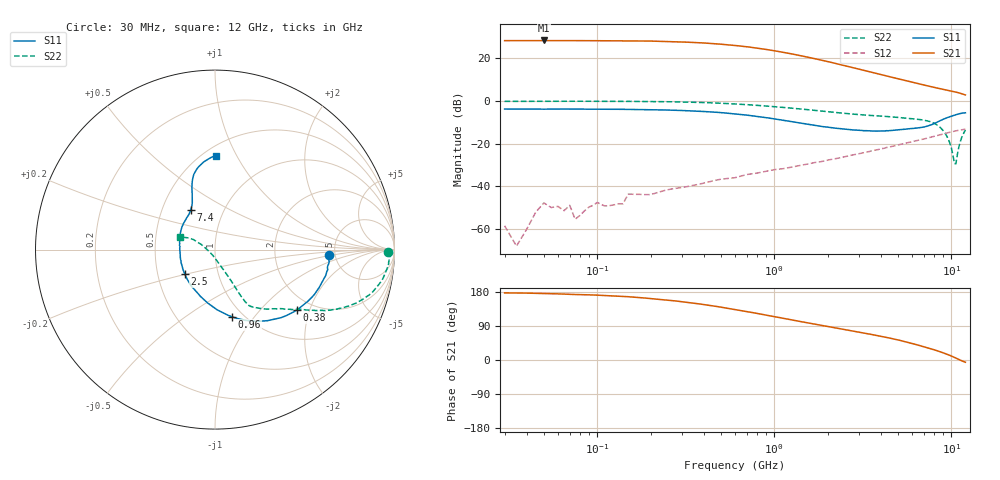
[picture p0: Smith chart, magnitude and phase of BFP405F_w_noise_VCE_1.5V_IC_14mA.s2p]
! Infineon Technologies  Discrete & RF Semiconductors
! BFP405F
! VCE =  1.5 V,  IC =  14 mA
! Common Emitter S-Parameters:  Nov 2015
# GHz  S  MA  R  50
!  f  S11  S21  S12  S22
! GHz  MAG  ANG  MAG  ANG  MAG  ANG  MAG  ANG
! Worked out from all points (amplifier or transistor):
!   239 points, 30 MHz to 12 GHz, reference 50 ohm
!   highest |S21| = 28.2 dB at 50 MHz (marker M1)
!   |S21| within 3 dB of that: start of sweep to 708.7 MHz
!   unconditionally stable (mu >= 1): 34.49 MHz to 35.84 MHz; 1.795 GHz to end of sweep
!   at 300 MHz: K = 0.23, MSG = 34.0 dB, |S12| = -40.5 dB
!   at 1.88 GHz: K = 1.02, MAG = 22.7 dB, |S12| = -28.3 dB
!   at 12 GHz: K = 1.39, MAG = 4.3 dB, |S12| = -13.3 dB
!   lowest NFmin = 1.91 dB at 450 MHz
!   S11 on the Smith chart (normalised r, x): 30 MHz: 4.48, -0.49; 380 MHz: 1.66, -1.64; 960 MHz: 0.89, -0.78; 2.5 GHz: 0.69, -0.19; 7.4 GHz: 0.70, +0.33; 12 GHz: 0.58, +0.83
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0.03  0.6384 -2.9  25.32 177.1  0.0012 -119.0  0.9665 -0.8
0.035  0.6388 -3.6  25.36 176.8  0.0004 -175.2  0.9683 -1.0
0.05  0.6353 -5.0  25.58 175.2  0.0041 122.7  0.9721 -1.6
0.075  0.6369 -7.5  25.3 172.8  0.0017 102.1  0.974 -2.5
0.085  0.6345 -8.4  25.28 172.2  0.0027 36.1  0.9724 -3.1
0.145  0.6284 -14.8  25.09 167.5  0.0052 84.7  0.9676 -5.8
0.2  0.6177 -20.0  24.76 162.1  0.0064 74.0  0.9567 -8.2
0.24  0.6083 -23.9  24.25 158.9  0.008 84.1  0.9498 -9.7
0.3  0.5913 -29.3  23.62 153.9  0.0094 82.4  0.9343 -11.9
0.38  0.566 -36.4  22.58 147.8  0.0113 74.5  0.912 -14.7
0.5  0.5278 -46.0  20.92 139.4  0.0147 75.0  0.8727 -18.3
0.6  0.4925 -53.5  19.53 133.2  0.0159 72.4  0.8403 -20.8
0.7  0.4612 -60.1  18.23 127.8  0.0189 70.4  0.8099 -22.8
0.96  0.3869 -75.6  15.12 116.0  0.0237 68.4  0.737 -27.0
1.3  0.3146 -93.0  12.06 104.2  0.0289 66.6  0.661 -30.9
1.64  0.27 -108.3  9.878 95.8  0.0349 66.2  0.6035 -33.8
2.5  0.2163 -141.5  6.594 80.3  0.0491 65.2  0.5071 -40.7
4.5  0.201 169.2  3.622 57.7  0.0835 59.3  0.4225 -51.3
7.4  0.2589 121.6  2.205 31.6  0.1351 47.2  0.3345 -60.0
9.2  0.3829 109.5  1.808 17.2  0.1709 37.9  0.1754 -63.5
10.6  0.4703 101.2  1.593 5.3  0.198 29.2  0.0334 -159.9
12  0.5224 89.4  1.364 -5.9  0.2161 21.4  0.2065 159.9
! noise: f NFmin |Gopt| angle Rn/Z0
0.45  1.91  0.12  3  0.31
0.9  1.94  0.11  6  0.31
1.5  1.98  0.1  10  0.2
1.9  2.03  0.08  15  0.24
2.4  2.17  0.06  22  0.38
3  2.25  0.04  27  0.41
3.5  2.31  0.02  23  0.49
4.5  2.5  0.07  -88  0.15
5.5  2.76  0.15  -87  0.08
